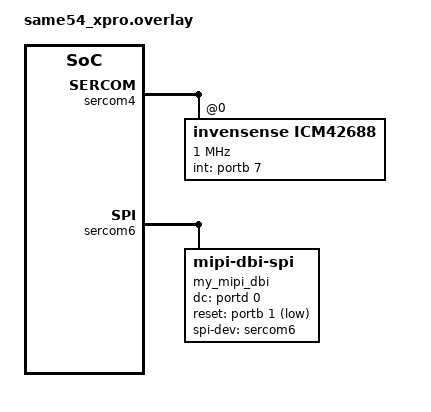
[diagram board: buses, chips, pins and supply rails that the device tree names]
#include <zephyr/dt-bindings/display/panel.h>
#include <zephyr/dt-bindings/sensor/icm42688.h>

/{
    aliases {
        imusensor = &icm42688;
        spi4 = &sercom4;
        spi6 = &sercom6;
    };

    chosen {
        zephyr,display = &gc9x01x_lcd;
    };   
};

&pinctrl {
	sercom6_spi_default: sercom6_spi_default {
		group1 {
			pinmux = <PC5C_SERCOM6_PAD1>,
                    <PC4C_SERCOM6_PAD0>,
	                <PC7C_SERCOM6_PAD3>;
		};
	};
};

/* the IMU will be mounted in EXT1 */
&sercom4 {
    status = "okay";

    /* Use SPI SS pin as GPIO CS */
    cs-gpios = <&portb 28 GPIO_ACTIVE_LOW>;

    /* ICM42688 IMU node */
    icm42688: icm42688@0 {
        status = "okay";
        compatible = "invensense,icm42688", "invensense,icm4268x";
        reg = <0>;
        spi-max-frequency = <1000000>;

        /* Interrupt line */
        int-gpios = <&portb 7 GPIO_ACTIVE_HIGH>;

        accel-fs = <ICM42688_DT_ACCEL_FS_2>;
        accel-odr = <ICM42688_DT_ACCEL_ODR_100>;

        gyro-fs = <ICM42688_DT_GYRO_FS_2000>;
        gyro-odr = <ICM42688_DT_GYRO_ODR_100>;

        // turn on low noise mode for gyro and accel
        accel-pwr-mode = <ICM42688_DT_ACCEL_LN>;
        gyro-pwr-mode = <ICM42688_DT_GYRO_LN>;
    };

};


/*************************************************************
                Mikroe socket connections for 
                Adafruit EyeSPI display (check these!)

       1  NC                    16  BACKLIGHT   PB08
       2  TFT_RST   PB01        15  TFT_DC      PD00
       3  TFT_CS    PC06        14  CARD_CS     PA05
       4  SCK       PC05        13  NC
       5  MISO      PC04        12  NC
       6  MOSI      PC07        11  NC
       7  +3V3                  10  +5V  
       8  GND                   9   GND

 *************************************************************/
/* This assumes that the display will be mounted in the XPro socket EXT2 and using sercom6 */
&sercom6 {
    status = "okay";
    compatible = "atmel,sam0-spi";
    dipo = <3>;
    dopo = <0>;

    #address-cells = <1>;
    #size-cells = <0>;

    pinctrl-0 = <&sercom6_spi_default>;
	pinctrl-names = "default";

    /* Use SPI SS pin as GPIO CS */
    cs-gpios = <&portc 6 GPIO_ACTIVE_LOW>;

    my_mipi_dbi {
        compatible = "zephyr,mipi-dbi-spi";
        status = "okay";
        #address-cells = <1>;
        #size-cells = <0>;
        spi-dev = <&sercom6>;
        dc-gpios = <&portd 0 GPIO_ACTIVE_HIGH>;
        reset-gpios = <&portb 1 GPIO_ACTIVE_LOW>;

        gc9x01x_lcd: gc9x01x_lcd@0 {
            compatible = "galaxycore,gc9x01x";
            reg = <0>;
            mipi-max-frequency = <20000000>;
            pixel-format = <PANEL_PIXEL_FORMAT_RGB_565>;
            width = <240>;
            height = <240>;
            display-inversion;
        };
    };
};

